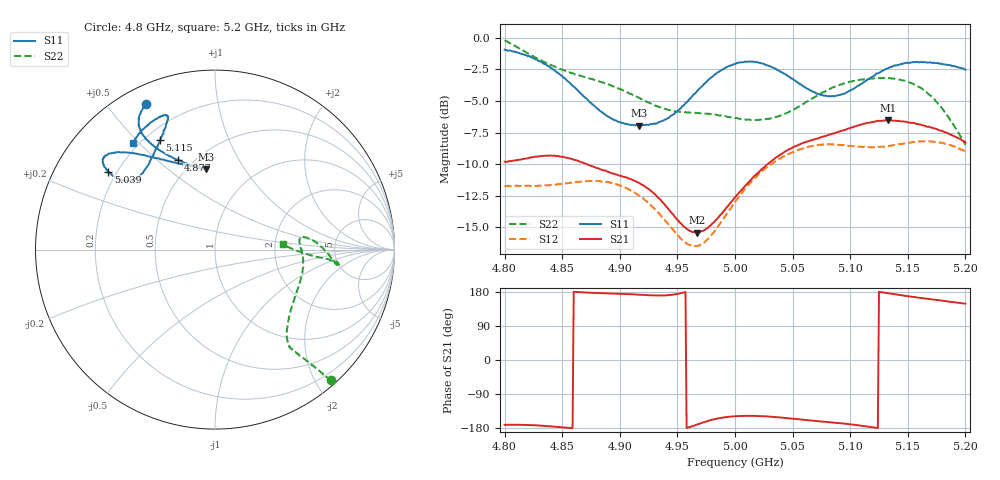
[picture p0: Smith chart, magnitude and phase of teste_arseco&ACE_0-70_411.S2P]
! Network Analyzer HP8722D
! Hewlett-Packard
! Data name: Linha & Wilkinson
! Saver's name: Rodrigo Anjos
! Comments: Teste da utilização de aquisição
! continua pelo VNA HP8722D
! Time and date: 8/5/2025 16:11
!  Frequency  S11  S21  S12  S22
# HZ  S  MA R 50
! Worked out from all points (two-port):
!   401 points, 4.8 GHz to 5.2 GHz, reference 50 ohm
!   highest |S21| = -6.52 dB at 5.133 GHz (marker M1); lowest = -15.4 dB at 4.967 GHz (marker M2)
!   |S21| within 3 dB of the highest: 4.821 GHz to 4.855 GHz (34.41 MHz wide, 0.711 % of centre); 5.035 GHz to end of sweep
!   lowest |S11| = -6.9 dB at 4.917 GHz (marker M3), VSWR 2.63, Z = 30.7 + j34.5 ohm
!   |S11| at or under -10 dB: nowhere
!   |S22| runs from -8.5 to -0.2 dB; largest |S21 - S12| = 0.83
!   S11 on the Smith chart (normalised r, x): 4.8 GHz: 0.08, +0.63; 4.877 GHz: 0.41, +0.59; 5.039 GHz: 0.17, +0.32; 5.115 GHz: 0.26, +0.59; 5.2 GHz: 0.18, +0.48
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4.8e9  0.8966 115.3  0.3233 -171.2  0.259 -86.4  0.9754 -48.4
4.819e9  0.8524 119.8  0.333 -171.3  0.2594 -82.4  0.8737 -49.5
4.835e9  0.7859 121.9  0.3412 -173.9  0.2606 -77.2  0.7995 -50.6
4.867e9  0.5961 117.2  0.3216 178.5  0.2695 -68.5  0.7055 -52.3
4.877e9  0.5415 112.4  0.3089 177.1  0.2712 -67.5  0.6834 -52.5
4.9e9  0.4634 100.4  0.2847 175.1  0.2601 -68.1  0.6263 -50.4
4.917e9  0.4496 96.1  0.2662 172.2  0.2371 -70.1  0.5777 -45.2
4.934e9  0.4639 100.4  0.2314 170.2  0.2024 -70.4  0.5317 -36.5
4.955e9  0.5383 115.5  0.1801 177.8  0.1573 -60.6  0.5083 -22.5
4.967e9  0.6141 123.5  0.1695 -170.3  0.15 -47.3  0.5044 -15.4
4.98e9  0.6987 129.8  0.1833 -157.8  0.1668 -33.2  0.4983 -8.9
5e9  0.7892 137.1  0.2335 -148.6  0.2244 -21.9  0.4812 -0.2
5.019e9  0.8011 141.4  0.29 -147.9  0.283 -19.8  0.4719 5.7
5.039e9  0.7359 143.9  0.3433 -151.6  0.3325 -20.0  0.492 8.3
5.067e9  0.6136 141.6  0.3942 -159.9  0.3735 -22.5  0.5747 3.1
5.088e9  0.5894 132.4  0.4219 -165.9  0.3769 -25.7  0.6434 -3.6
5.115e9  0.6833 116.8  0.4607 -175.6  0.3686 -28.5  0.6882 -7.1
5.133e9  0.7583 110.6  0.4722 176.0  0.373 -30.4  0.6916 -6.5
5.134e9  0.7619 110.6  0.47 175.7  0.3733 -30.6  0.692 -6.4
5.148e9  0.795 109.8  0.4658 169.3  0.3824 -33.4  0.6752 -5.6
5.163e9  0.7988 112.7  0.4503 163.1  0.3887 -37.8  0.6243 -4.8
5.2e9  0.7479 127.7  0.3856 148.5  0.3546 -48.6  0.3774 4.4
